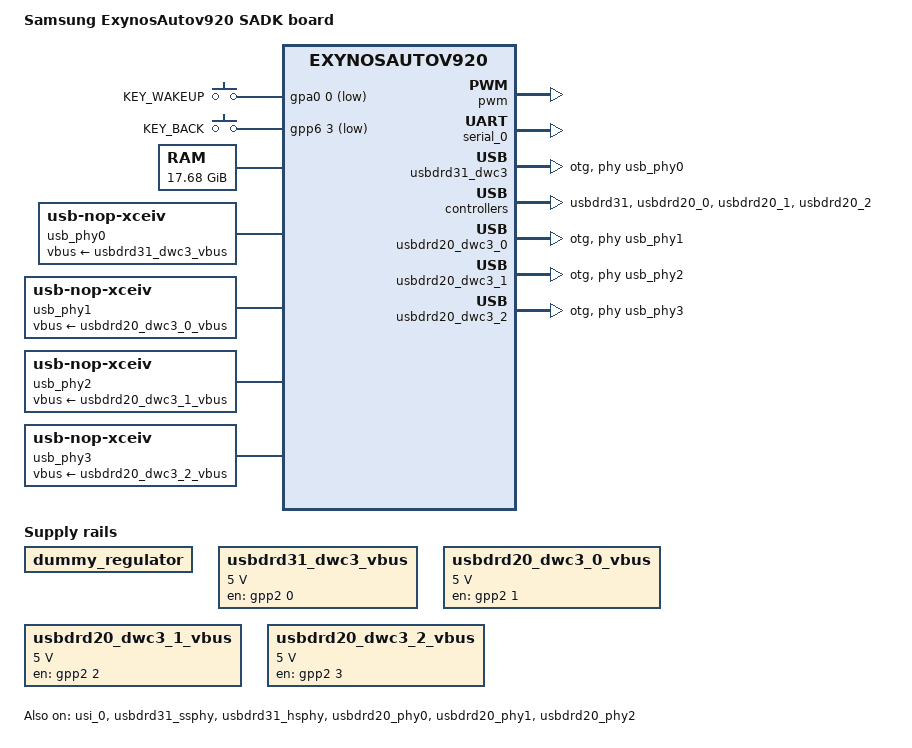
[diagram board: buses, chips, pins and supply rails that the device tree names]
// SPDX-License-Identifier: GPL-2.0
/*
 * Samsung's ExynosAutov920 SADK board device tree source
 *
 * Copyright (c) 2023 Samsung Electronics Co., Ltd.
 *
 */

/dts-v1/;
#include "exynosautov920.dtsi"
#include "exynos-pinctrl.h"
#include <dt-bindings/gpio/gpio.h>
#include <dt-bindings/input/input.h>

/ {
	model = "Samsung ExynosAutov920 SADK board";
	compatible = "samsung,exynosautov920-sadk", "samsung,exynosautov920";

	#address-cells = <2>;
	#size-cells = <2>;

	aliases {
		serial0 = &serial_0;
	};

	chosen {
		stdout-path = &serial_0;
	};

	gpio-keys {
		compatible = "gpio-keys";
		pinctrl-names = "default";
		pinctrl-0 = <&key_wakeup &key_back>;

		key-wakeup {
			label = "KEY_WAKEUP";
			linux,code = <KEY_WAKEUP>;
			gpios = <&gpa0 0 GPIO_ACTIVE_LOW>;
			wakeup-source;
		};

		key-back {
			label = "KEY_BACK";
			linux,code = <KEY_BACK>;
			gpios = <&gpp6 3 GPIO_ACTIVE_LOW>;
		};
	};

	memory@80000000 {
		device_type = "memory";
		reg = <0x0 0x80000000 0x0 0x70000000>,
		      <0x8 0x80000000 0x1 0xfba00000>,
		      <0xa 0x00000000 0x2 0x00000000>;
	};

	/* TODO: Remove this once PMIC is implemented  */
	dummy_regulator: regulator-0 {
		 compatible = "regulator-fixed";
		 regulator-name = "dummy_regulator";
	};

	usbdrd31_dwc3_vbus: usbdrd31_dwc3-vbus {
	       compatible = "regulator-fixed";
	       regulator-name = "usbdrd31_dwc3-vbus";
	       regulator-min-microvolt = <5000000>;
	       regulator-max-microvolt = <5000000>;
	       enable-active-high;
	       regulator-always-on;
	       gpio = <&gpp2 0 GPIO_ACTIVE_HIGH>;
	};

	/* Use gpio for enabling vbus regulator */
	usb_phy0: usb-phy0 {
		compatible = "usb-nop-xceiv";
		vbus-supply = <&usbdrd31_dwc3_vbus>;
	};

	usbdrd20_dwc3_0_vbus: usbdrd20_dwc3_0-vbus {
	       compatible = "regulator-fixed";
	       regulator-name = "usbdrd20_dwc3_0-vbus";
	       regulator-min-microvolt = <5000000>;
	       regulator-max-microvolt = <5000000>;
	       enable-active-high;
	       regulator-always-on;
	       gpio = <&gpp2 1 GPIO_ACTIVE_HIGH>;
	};

	/* Use gpio for enabling vbus regulator */
	usb_phy1: usb-phy1 {
		compatible = "usb-nop-xceiv";
		vbus-supply = <&usbdrd20_dwc3_0_vbus>;
	};

	usbdrd20_dwc3_1_vbus: usbdrd20_dwc3_1-vbus {
	       compatible = "regulator-fixed";
	       regulator-name = "usbdrd20_dwc3_1-vbus";
	       regulator-min-microvolt = <5000000>;
	       regulator-max-microvolt = <5000000>;
	       enable-active-high;
	       regulator-always-on;
	       gpio = <&gpp2 2 GPIO_ACTIVE_HIGH>;
	};

	/* Use gpio for enabling vbus regulator */
	usb_phy2: usb-phy2 {
		compatible = "usb-nop-xceiv";
		vbus-supply = <&usbdrd20_dwc3_1_vbus>;
	};

	usbdrd20_dwc3_2_vbus: usbdrd20_dwc3_2-vbus {
	       compatible = "regulator-fixed";
	       regulator-name = "usbdrd20_dwc3_2-vbus";
	       regulator-min-microvolt = <5000000>;
	       regulator-max-microvolt = <5000000>;
	       enable-active-high;
	       regulator-always-on;
	       gpio = <&gpp2 3 GPIO_ACTIVE_HIGH>;
	};

	/* Use gpio for enabling vbus regulator */
	usb_phy3: usb-phy3 {
		compatible = "usb-nop-xceiv";
		vbus-supply = <&usbdrd20_dwc3_2_vbus>;
	};
};

&pinctrl_alive {
	key_wakeup: key-wakeup-pins {
		samsung,pins = "gpa0-0";
		samsung,pin-function = <EXYNOS_PIN_FUNC_EINT>;
	};
};

&pinctrl_peric1 {
	key_back: key-back-pins {
		samsung,pins = "gpp6-3";
		samsung,pin-function = <EXYNOS_PIN_FUNC_EINT>;
	};
};

&pwm {
	pinctrl-names = "default";
	pinctrl-0 = <&pwm_tout0>;
	status = "okay";
};

&serial_0 {
	status = "okay";
};

&usi_0 {
	samsung,clkreq-on; /* needed for UART mode */
	status = "okay";
};

&xtcxo {
	clock-frequency = <38400000>;
};

&usbdrd31_ssphy {
	dvdd-supply = <&dummy_regulator>;
	vdd18-supply = <&dummy_regulator>;
	status = "okay";
};

&usbdrd31_hsphy {
	dvdd-supply = <&dummy_regulator>;
	vdd18-supply = <&dummy_regulator>;
	vdd33-supply = <&dummy_regulator>;
	status = "okay";
};

&usbdrd31_dwc3 {
	dr_mode = "otg";
	usb-role-switch;
	role-switch-default-mode = "peripheral";
	maximum-speed = "super-speed-plus";
	usb-phy = <&usb_phy0>;
};

&usbdrd31 {
	vdd10-supply = <&dummy_regulator>;
	vdd33-supply = <&dummy_regulator>;
	status = "okay";
};

&usbdrd20_phy0 {
	dvdd-supply = <&dummy_regulator>;
	vdd18-supply = <&dummy_regulator>;
	vdd33-supply = <&dummy_regulator>;
	status = "okay";
};

&usbdrd20_dwc3_0 {
	dr_mode = "otg";
	usb-role-switch;
	role-switch-default-mode = "peripheral";
	maximum-speed = "high-speed";
	usb-phy = <&usb_phy1>;
};

&usbdrd20_0 {
	vdd10-supply = <&dummy_regulator>;
	vdd33-supply = <&dummy_regulator>;
	status = "okay";
};

&usbdrd20_phy1 {
	dvdd-supply = <&dummy_regulator>;
	vdd18-supply = <&dummy_regulator>;
	vdd33-supply = <&dummy_regulator>;
	status = "okay";
};

&usbdrd20_dwc3_1 {
	dr_mode = "otg";
	usb-role-switch;
	role-switch-default-mode = "peripheral";
	maximum-speed = "high-speed";
	usb-phy = <&usb_phy2>;
};

&usbdrd20_1 {
	vdd10-supply = <&dummy_regulator>;
	vdd33-supply = <&dummy_regulator>;
	status = "okay";
};

&usbdrd20_phy2 {
	dvdd-supply = <&dummy_regulator>;
	vdd18-supply = <&dummy_regulator>;
	vdd33-supply = <&dummy_regulator>;
	status = "okay";
};

&usbdrd20_dwc3_2 {
	dr_mode = "otg";
	usb-role-switch;
	role-switch-default-mode = "peripheral";
	maximum-speed = "high-speed";
	usb-phy = <&usb_phy3>;
};

&usbdrd20_2 {
	vdd10-supply = <&dummy_regulator>;
	vdd33-supply = <&dummy_regulator>;
	status = "okay";
};
